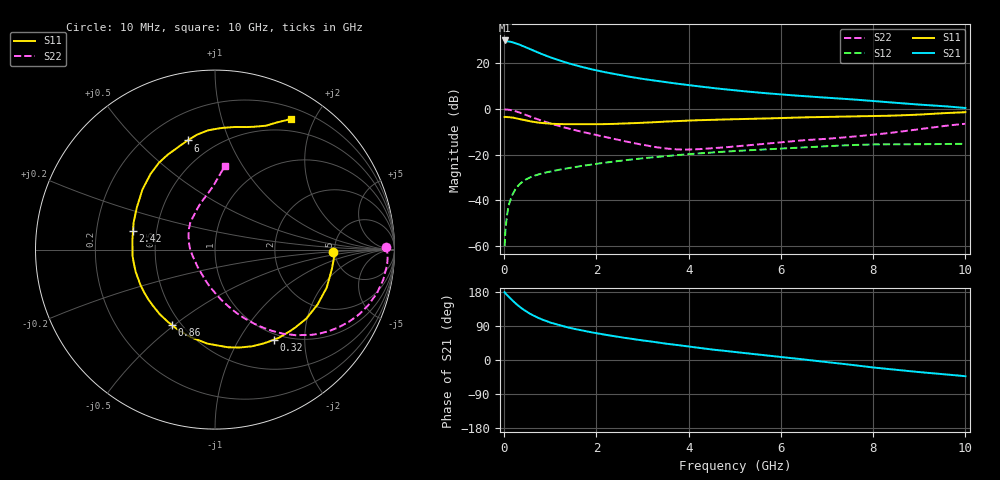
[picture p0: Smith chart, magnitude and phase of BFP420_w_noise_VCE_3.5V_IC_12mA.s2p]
! Infineon Technologies  Discrete & RF Semiconductors
! BFP420
! VCE =  3.5 V,  IC =  12 mA
! Common Emitter S-Parameters:  Jan 2016
# GHz  S  MA  R  50
!  f  S11  S21  S12  S22
! GHz  MAG  ANG  MAG  ANG  MAG  ANG  MAG  ANG
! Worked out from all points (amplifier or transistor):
!   233 points, 10 MHz to 10 GHz, reference 50 ohm
!   highest |S21| = 29.8 dB at 10 MHz (marker M1)
!   |S21| within 3 dB of that: start of sweep to 472.7 MHz
!   unconditionally stable (mu >= 1): 2.231 GHz to end of sweep
!   at 200 MHz: K = 0.20, MSG = 32.8 dB, |S12| = -36.7 dB
!   at 1.74 GHz: K = 0.87, MSG = 21.4 dB, |S12| = -24.8 dB
!   at 10 GHz: K = 1.08, MAG = 6.1 dB, |S12| = -15.3 dB
!   lowest NFmin = 0.95 dB at 900 MHz
!   S11 on the Smith chart (normalised r, x): 10 MHz: 4.87, -0.26; 320 MHz: 0.91, -1.42; 860 MHz: 0.45, -0.49; 2.42 GHz: 0.37, +0.10; 6 GHz: 0.36, +0.72; 10 GHz: 0.34, +1.69
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0.01  0.6599 -1.3  30.97 178.8  0.001 83.9  0.9527 1.0
0.02  0.6651 -3.4  30.06 177.0  0.0017 65.4  0.9633 -1.8
0.1  0.6573 -18.9  29.53 166.8  0.0078 77.6  0.9527 -10.1
0.16  0.6449 -29.9  28.63 159.5  0.012 74.0  0.9287 -16.0
0.24  0.6237 -43.9  27.06 150.3  0.0173 69.4  0.8861 -23.3
0.32  0.5992 -57.0  25.37 142.0  0.0217 65.0  0.8346 -29.7
0.4  0.5773 -68.9  23.57 134.5  0.0256 61.1  0.7813 -35.5
0.45  0.5626 -75.9  22.44 130.3  0.0278 59.0  0.7483 -38.7
0.6  0.5258 -94.5  19.29 119.2  0.033 54.2  0.6555 -46.7
0.7  0.5067 -105.2  17.48 113.2  0.0358 51.9  0.6018 -51.1
0.86  0.4844 -119.5  15.03 105.1  0.0396 49.4  0.53 -56.7
1  0.4735 -130.6  13.3 98.9  0.0427 48.0  0.4771 -61.3
1.2  0.4635 -143.5  11.32 91.6  0.0468 46.6  0.4166 -66.8
1.4  0.4599 -154.4  9.806 85.4  0.0507 45.7  0.3684 -71.7
1.68  0.4586 -167.0  8.22 78.1  0.0563 44.6  0.3148 -78.0
2.42  0.4686 167.3  5.652 62.1  0.0712 41.1  0.2155 -95.8
3.4  0.517 142.6  3.929 45.1  0.0905 34.9  0.14 -130.7
5.1  0.5931 115.2  2.464 19.8  0.1209 21.9  0.1529 162.3
6  0.627 104.1  2.054 8.0  0.1352 15.1  0.1862 141.2
6.8  0.6583 95.4  1.796 -2.7  0.1488 8.1  0.2144 126.3
8.4  0.7063 75.2  1.371 -24.8  0.1671 -8.6  0.2996 100.1
10  0.841 59.8  1.039 -42.8  0.1719 -20.3  0.4704 83.2
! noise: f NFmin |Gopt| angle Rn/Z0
0.9  0.95  0.03  -151  0.13
1.8  1.27  0.13  -152  0.12
2.4  1.38  0.13  -160  0.14
3  1.43  0.22  -145  0.13
4  1.58  0.35  -123  0.17
5  2.03  0.43  -103  0.28
6  2.4  0.47  -91  0.43
